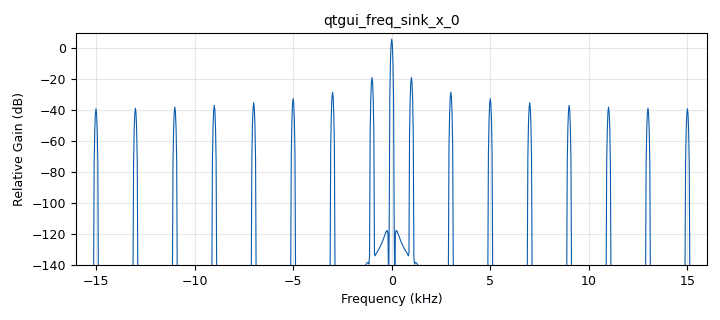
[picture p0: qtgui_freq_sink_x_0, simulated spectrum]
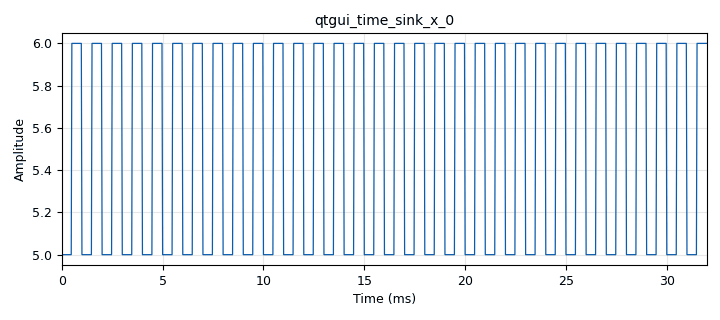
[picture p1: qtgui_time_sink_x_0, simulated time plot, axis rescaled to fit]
options:
  parameters:
    author: Grupo 7
    generate_options: qt_gui
    id: pruebarepo
    output_language: python
    title: COMU2
  states: {}

blocks:
- name: samp_rate
  id: variable
  parameters:
    value: '32000'
  states: {}
- name: analog_sig_source_x_0
  id: analog_sig_source_x
  parameters:
    amp: '1'
    freq: '1000'
    offset: '0'
    phase: '0'
    samp_rate: samp_rate
    type: float
    waveform: analog.GR_SQR_WAVE
  states: {}
- name: blocks_add_const_vxx_0
  id: blocks_add_const_vxx
  parameters:
    const: '5'
    type: float
  states: {}
- name: qtgui_freq_sink_x_0
  id: qtgui_freq_sink_x
  parameters:
    bw: samp_rate
    fc: '0'
    fftsize: '1024'
    type: float
  states: {}
- name: qtgui_time_sink_x_0
  id: qtgui_time_sink_x
  parameters:
    size: '1024'
    srate: samp_rate
    type: float
  states: {}

connections:
- [analog_sig_source_x_0, '0', blocks_add_const_vxx_0, '0']
- [blocks_add_const_vxx_0, '0', qtgui_freq_sink_x_0, '0']
- [blocks_add_const_vxx_0, '0', qtgui_time_sink_x_0, '0']

metadata:
  file_format: 1
  grc_version: 3.10.5.1
